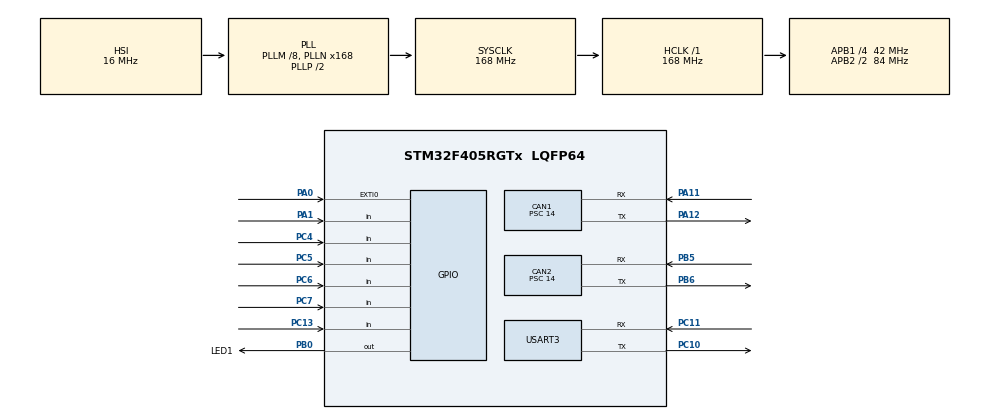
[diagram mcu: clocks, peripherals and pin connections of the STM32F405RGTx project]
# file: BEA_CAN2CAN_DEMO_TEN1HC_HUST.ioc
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CAN1.BS1=CAN_BS1_2TQ
CAN1.BS2=CAN_BS2_3TQ
CAN1.CalculateBaudRate=499999
CAN1.CalculateTimeBit=2000
CAN1.CalculateTimeQuantum=333.33333333333337
CAN1.Mode=CAN_MODE_LOOPBACK
CAN1.Prescaler=14
CAN1.SJW=CAN_SJW_2TQ
CAN2.BS1=CAN_BS1_2TQ
CAN2.BS2=CAN_BS2_3TQ
CAN2.CalculateBaudRate=499999
CAN2.CalculateTimeBit=2000
CAN2.CalculateTimeQuantum=333.33333333333337
CAN2.Prescaler=14
CAN2.SJW=CAN_SJW_2TQ
Mcu.Family=STM32F4
Mcu.Name=STM32F405RGTx
Mcu.Package=LQFP64
NVIC.CAN1_RX0_IRQn=true\:2\:0\:true\:false\:true\:true\:true\:true
NVIC.CAN2_RX0_IRQn=true\:2\:0\:true\:false\:true\:true\:true\:true
NVIC.EXTI0_IRQn=true\:1\:0\:true\:false\:true\:true\:true\:true
NVIC.PriorityGroup=NVIC_PRIORITYGROUP_4
NVIC.USART3_IRQn=true\:1\:0\:true\:false\:true\:true\:true\:true
PA0-WKUP.GPIO_ModeDefaultEXTI=GPIO_MODE_IT_FALLING
PA0-WKUP.GPIO_PuPd=GPIO_PULLUP
PA0-WKUP.Signal=GPXTI0
PA1.GPIO_PuPd=GPIO_PULLUP
PA1.Signal=GPIO_Input
PA11.Mode=CAN_Activate
PA11.Signal=CAN1_RX
PA12.Mode=CAN_Activate
PA12.Signal=CAN1_TX
PB0.GPIO_Label=LED1
PB0.Signal=GPIO_Output
PB5.Mode=CAN_Activate
PB5.Signal=CAN2_RX
PB6.Mode=CAN_Activate
PB6.Signal=CAN2_TX
PC10.Mode=Asynchronous
PC10.Signal=USART3_TX
PC11.Mode=Asynchronous
PC11.Signal=USART3_RX
PC13-ANTI_TAMP.GPIO_PuPd=GPIO_PULLUP
PC13-ANTI_TAMP.Signal=GPIO_Input
PC4.GPIO_PuPd=GPIO_PULLUP
PC4.Signal=GPIO_Input
PC5.GPIO_PuPd=GPIO_PULLUP
PC5.Signal=GPIO_Input
PC6.GPIO_PuPd=GPIO_PULLUP
PC6.Signal=GPIO_Input
PC7.GPIO_PuPd=GPIO_PULLUP
PC7.Signal=GPIO_Input
PH0-OSC_IN.Mode=HSE-External-Oscillator
PH0-OSC_IN.Signal=RCC_OSC_IN
PH1-OSC_OUT.Mode=HSE-External-Oscillator
PH1-OSC_OUT.Signal=RCC_OSC_OUT
ProjectManager.HeapSize=0x200
ProjectManager.StackSize=0x400
ProjectManager.TargetToolchain=STM32CubeIDE
RCC.48MHZClocksFreq_Value=84000000
RCC.AHBFreq_Value=168000000
RCC.APB1CLKDivider=RCC_HCLK_DIV4
RCC.APB1Freq_Value=42000000
RCC.APB1TimFreq_Value=84000000
RCC.APB2CLKDivider=RCC_HCLK_DIV2
RCC.APB2Freq_Value=84000000
RCC.APB2TimFreq_Value=168000000
RCC.CortexFreq_Value=168000000
RCC.HCLKFreq_Value=168000000
RCC.HSE_VALUE=8000000
RCC.HSI_VALUE=16000000
RCC.LSE_VALUE=32768
RCC.PLLM=8
RCC.PLLN=168
RCC.SYSCLKFreq_VALUE=168000000
RCC.SYSCLKSource=RCC_SYSCLKSOURCE_PLLCLK
RCC.VCOOutputFreq_Value=336000000
USART3.VirtualMode=VM_ASYNC
board=custom

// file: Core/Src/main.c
/* USER CODE BEGIN Header */
/**
  ******************************************************************************
  * @file           : main.c
  * @brief          : Main program body
  ******************************************************************************
  * @attention
  *
  * Copyright (c) 2023 STMicroelectronics.
  * All rights reserved.
  *
  * This software is licensed under terms that can be found in the LICENSE file
  * in the root directory of this software component.
  * If no LICENSE file comes with this software, it is provided AS-IS.
  *
  ******************************************************************************
  */
/* USER CODE END Header */
#include "main.h"

CAN_HandleTypeDef hcan1;
CAN_HandleTypeDef hcan2;

UART_HandleTypeDef huart3;

/* USER CODE BEGIN PV */
uint8_t uart3_receive;

CAN_HandleTypeDef hcan1;
CAN_HandleTypeDef hcan2;
CAN_TxHeaderTypeDef CAN1_TxHeader;
CAN_RxHeaderTypeDef CAN1_RxHeader;
CAN_TxHeaderTypeDef CAN2_TxHeader;
CAN_RxHeaderTypeDef CAN2_RxHeader;
uint32_t CAN1_TxMailbox;
uint32_t CAN2_TxMailbox;

uint16_t NumBytesReq = 0;
uint8_t  REQ_BUFFER  [4096];
uint8_t  REQ_1BYTE_DATA;

uint8_t CAN1_DATA_TX[8] = {0x01,0x02,0x03,0x04,0x05,0x06,0x07,0x08};
uint8_t CAN1_DATA_RX[8] = {0x00,0x00,0x00,0x00,0x00,0x00,0x00,0x00};
uint8_t CAN2_DATA_TX[8] = {0x08,0x07,0x06,0x05,0x04,0x03,0x02,0x01};
uint8_t CAN2_DATA_RX[8] = {0x00,0x00,0x00,0x00,0x00,0x00,0x00,0x00};

uint16_t Num_Consecutive_Tester;
uint8_t  Flg_Consecutive = 0;

unsigned int TimeStamp;
// maximum characters send out via UART is 30
/* USER CODE END PV */

void SystemClock_Config(void);
static void MX_GPIO_Init(void);
static void MX_CAN1_Init(void);
static void MX_CAN2_Init(void);
static void MX_USART3_UART_Init(void);
/* USER CODE BEGIN PFP */
void MX_CAN1_Setup();
void MX_CAN2_Setup();
void USART3_SendString(uint8_t *ch);
void PrintCANLog(uint16_t CANID, uint8_t * CAN_Frame);
void SID_22_Practice();
void SID_2E_Practice();
void SID_27_Practice();
void delay(uint16_t delay);
void CAN1_Transmit();
void CAN1_Receive();
void CAN2_Transmit();
void CAN2_Receive();
/* USER CODE END PFP */

int main(void)
{

  /* MCU Configuration--------------------------------------------------------*/

  /* Reset of all peripherals, Initializes the Flash interface and the Systick. */
  HAL_Init();

  /* Configure the system clock */
  SystemClock_Config();

  /* Initialize all configured peripherals */
  MX_GPIO_Init();
  MX_CAN1_Init();
  MX_CAN2_Init();
  MX_USART3_UART_Init();
  /* USER CODE BEGIN 2 */
  MX_CAN1_Setup();
  MX_CAN2_Setup();
//  __HAL_UART_ENABLE_IT(&huart3, UART_IT_RXNE);
  HAL_CAN_Start(&hcan1);
  HAL_CAN_Start(&hcan1);
  /* USER CODE END 2 */

  /* Infinite loop */
  /* USER CODE BEGIN WHILE */
  // Example Function to print can message via uart
  while (1)
  {
    /* USER CODE END WHILE */

    /* USER CODE BEGIN 3 */
		CAN1_Transmit();
	//	CAN1_Receive();
	//	CAN2_Transmit();
		CAN2_Receive();
		if(CAN2_DATA_RX[7] == 0x08){
			HAL_GPIO_TogglePin(LED1_GPIO_Port, LED1_Pin);
		}

//    if(!BtnU) /*IG OFF->ON stimulation*/
//    {
//      delay(20);
//      USART3_SendString((uint8_t *)"IG OFF ");
//      while(!BtnU);
//      MX_CAN1_Setup();
//      MX_CAN2_Setup();
//      USART3_SendString((uint8_t *)"-> IG ON \n");
//      delay(20);
//    }
	HAL_Delay(1000);
  }

  memset(&REQ_BUFFER,0x00,4096);
  NumBytesReq = 0;

  /* USER CODE END 3 */
}

void SystemClock_Config(void)
{
  RCC_OscInitTypeDef RCC_OscInitStruct = {0};
  RCC_ClkInitTypeDef RCC_ClkInitStruct = {0};

  /** Configure the main internal regulator output voltage
  */
  __HAL_RCC_PWR_CLK_ENABLE();
  __HAL_PWR_VOLTAGESCALING_CONFIG(PWR_REGULATOR_VOLTAGE_SCALE1);

  /** Initializes the RCC Oscillators according to the specified parameters
  * in the RCC_OscInitTypeDef structure.
  */
  RCC_OscInitStruct.OscillatorType = RCC_OSCILLATORTYPE_HSI;
  RCC_OscInitStruct.HSIState = RCC_HSI_ON;
  RCC_OscInitStruct.HSICalibrationValue = RCC_HSICALIBRATION_DEFAULT;
  RCC_OscInitStruct.PLL.PLLState = RCC_PLL_ON;
  RCC_OscInitStruct.PLL.PLLSource = RCC_PLLSOURCE_HSI;
  RCC_OscInitStruct.PLL.PLLM = 8;
  RCC_OscInitStruct.PLL.PLLN = 168;
  RCC_OscInitStruct.PLL.PLLP = RCC_PLLP_DIV2;
  RCC_OscInitStruct.PLL.PLLQ = 4;
  if (HAL_RCC_OscConfig(&RCC_OscInitStruct) != HAL_OK)
  {
    Error_Handler();
  }

  /** Initializes the CPU, AHB and APB buses clocks
  */
  RCC_ClkInitStruct.ClockType = RCC_CLOCKTYPE_HCLK|RCC_CLOCKTYPE_SYSCLK
                              |RCC_CLOCKTYPE_PCLK1|RCC_CLOCKTYPE_PCLK2;
  RCC_ClkInitStruct.SYSCLKSource = RCC_SYSCLKSOURCE_PLLCLK;
  RCC_ClkInitStruct.AHBCLKDivider = RCC_SYSCLK_DIV1;
  RCC_ClkInitStruct.APB1CLKDivider = RCC_HCLK_DIV4;
  RCC_ClkInitStruct.APB2CLKDivider = RCC_HCLK_DIV2;

  if (HAL_RCC_ClockConfig(&RCC_ClkInitStruct, FLASH_LATENCY_5) != HAL_OK)
  {
    Error_Handler();
  }
}

static void MX_CAN1_Init(void)
{

  hcan1.Instance = CAN1;
  hcan1.Init.Prescaler = 14;
  hcan1.Init.Mode = CAN_MODE_LOOPBACK;
  hcan1.Init.SyncJumpWidth = CAN_SJW_2TQ;
  hcan1.Init.TimeSeg1 = CAN_BS1_2TQ;
  hcan1.Init.TimeSeg2 = CAN_BS2_3TQ;
  hcan1.Init.TimeTriggeredMode = DISABLE;
  hcan1.Init.AutoBusOff = DISABLE;
  hcan1.Init.AutoWakeUp = DISABLE;
  hcan1.Init.AutoRetransmission = DISABLE;
  hcan1.Init.ReceiveFifoLocked = DISABLE;
  hcan1.Init.TransmitFifoPriority = DISABLE;
  if (HAL_CAN_Init(&hcan1) != HAL_OK)
  {
    Error_Handler();
  }

}

static void MX_CAN2_Init(void)
{

  hcan2.Instance = CAN2;
  hcan2.Init.Prescaler = 14;
  hcan2.Init.Mode = CAN_MODE_NORMAL;
  hcan2.Init.SyncJumpWidth = CAN_SJW_2TQ;
  hcan2.Init.TimeSeg1 = CAN_BS1_2TQ;
  hcan2.Init.TimeSeg2 = CAN_BS2_3TQ;
  hcan2.Init.TimeTriggeredMode = DISABLE;
  hcan2.Init.AutoBusOff = DISABLE;
  hcan2.Init.AutoWakeUp = DISABLE;
  hcan2.Init.AutoRetransmission = DISABLE;
  hcan2.Init.ReceiveFifoLocked = DISABLE;
  hcan2.Init.TransmitFifoPriority = DISABLE;
  if (HAL_CAN_Init(&hcan2) != HAL_OK)
  {
    Error_Handler();
  }

}

static void MX_USART3_UART_Init(void)
{

  huart3.Instance = USART3;
  huart3.Init.BaudRate = 115200;
  huart3.Init.WordLength = UART_WORDLENGTH_8B;
  huart3.Init.StopBits = UART_STOPBITS_1;
  huart3.Init.Parity = UART_PARITY_NONE;
  huart3.Init.Mode = UART_MODE_TX_RX;
  huart3.Init.HwFlowCtl = UART_HWCONTROL_NONE;
  huart3.Init.OverSampling = UART_OVERSAMPLING_16;
  if (HAL_UART_Init(&huart3) != HAL_OK)
  {
    Error_Handler();
  }

}

static void MX_GPIO_Init(void)
{
  GPIO_InitTypeDef GPIO_InitStruct = {0};

  /* GPIO Ports Clock Enable */
  __HAL_RCC_GPIOC_CLK_ENABLE();
  __HAL_RCC_GPIOH_CLK_ENABLE();
  __HAL_RCC_GPIOA_CLK_ENABLE();
  __HAL_RCC_GPIOB_CLK_ENABLE();

  /*Configure GPIO pin Output Level */
  HAL_GPIO_WritePin(LED1_GPIO_Port, LED1_Pin, GPIO_PIN_RESET);

  /*Configure GPIO pins : PC13 PC4 PC5 PC6
                           PC7 */
  GPIO_InitStruct.Pin = GPIO_PIN_13|GPIO_PIN_4|GPIO_PIN_5|GPIO_PIN_6
                          |GPIO_PIN_7;
  GPIO_InitStruct.Mode = GPIO_MODE_INPUT;
  GPIO_InitStruct.Pull = GPIO_PULLUP;
  HAL_GPIO_Init(GPIOC, &GPIO_InitStruct);

  /*Configure GPIO pin : PA0 */
  GPIO_InitStruct.Pin = GPIO_PIN_0;
  GPIO_InitStruct.Mode = GPIO_MODE_IT_FALLING;
  GPIO_InitStruct.Pull = GPIO_PULLUP;
  HAL_GPIO_Init(GPIOA, &GPIO_InitStruct);

  /*Configure GPIO pin : PA1 */
  GPIO_InitStruct.Pin = GPIO_PIN_1;
  GPIO_InitStruct.Mode = GPIO_MODE_INPUT;
  GPIO_InitStruct.Pull = GPIO_PULLUP;
  HAL_GPIO_Init(GPIOA, &GPIO_InitStruct);

  /*Configure GPIO pin : LED1_Pin */
  GPIO_InitStruct.Pin = LED1_Pin;
  GPIO_InitStruct.Mode = GPIO_MODE_OUTPUT_PP;
  GPIO_InitStruct.Pull = GPIO_NOPULL;
  GPIO_InitStruct.Speed = GPIO_SPEED_FREQ_LOW;
  HAL_GPIO_Init(LED1_GPIO_Port, &GPIO_InitStruct);

  /* EXTI interrupt init*/
  HAL_NVIC_SetPriority(EXTI0_IRQn, 1, 0);
  HAL_NVIC_EnableIRQ(EXTI0_IRQn);

}

/* USER CODE BEGIN 4 */

void CAN1_Transmit() {
  CAN1_TxHeader.StdId = 0x103;
  CAN1_TxHeader.ExtId = 0x01;
  CAN1_TxHeader.RTR = CAN_RTR_DATA;
  CAN1_TxHeader.IDE = CAN_ID_STD;
  CAN1_TxHeader.DLC = 8;

  if (HAL_CAN_AddTxMessage(&hcan1, &CAN1_TxHeader,CAN1_DATA_TX, (uint32_t *)CAN1_TxMailbox) != HAL_OK)
  {
     Error_Handler ();
  }
}

void CAN1_Receive() {
  if (HAL_CAN_ActivateNotification(&hcan1, CAN_IT_RX_FIFO0_MSG_PENDING) != HAL_OK)
    {
  	  Error_Handler();
    }
  if (HAL_CAN_GetRxMessage(&hcan1, CAN_RX_FIFO0, &CAN1_RxHeader, CAN1_DATA_RX) != HAL_OK)
  {
	  Error_Handler();
  }
}

void CAN2_Transmit() {
  CAN2_TxHeader.StdId = 0x103;
  CAN2_TxHeader.ExtId = 0x01;
  CAN2_TxHeader.RTR = CAN_RTR_DATA;
  CAN2_TxHeader.IDE = CAN_ID_STD;
  CAN2_TxHeader.DLC = 8;

  if (HAL_CAN_AddTxMessage(&hcan2, &CAN2_TxHeader,CAN2_DATA_TX, (uint32_t *)CAN2_TxMailbox) != HAL_OK)
  {
     Error_Handler ();
  }
}

void CAN2_Receive() {
  if (HAL_CAN_ActivateNotification(&hcan2, CAN_IT_RX_FIFO0_MSG_PENDING) != HAL_OK)
    {
  	  Error_Handler();
    }
  if (HAL_CAN_GetRxMessage(&hcan2, CAN_RX_FIFO0, &CAN2_RxHeader, CAN2_DATA_RX) != HAL_OK)
  {
	  Error_Handler();
  }
}

void MX_CAN1_Setup()
{
	CAN_FilterTypeDef sFilterConfig = {0};
	  /* USER CODE BEGIN CAN2_Init 0 */
	  sFilterConfig.FilterBank = 0;
	  sFilterConfig.FilterMode = CAN_FILTERMODE_IDMASK;
	  sFilterConfig.FilterScale = CAN_FILTERSCALE_32BIT;
	  sFilterConfig.FilterIdHigh = 0x0000;
	  sFilterConfig.FilterIdLow = 0x0000;
	  sFilterConfig.FilterMaskIdHigh = 0x0000;
	  sFilterConfig.FilterMaskIdLow = 0x0000;
	  sFilterConfig.FilterFIFOAssignment = CAN_RX_FIFO0;
	  sFilterConfig.FilterActivation = ENABLE;
	  sFilterConfig.SlaveStartFilterBank = 14;
	HAL_CAN_ConfigFilter(&hcan1, &sFilterConfig);
	if (HAL_CAN_ConfigFilter(&hcan1, &sFilterConfig) != HAL_OK)
	    {
	      Error_Handler();
	    }
	HAL_CAN_Start(&hcan1);
	HAL_CAN_ActivateNotification(&hcan1, CAN_IT_RX_FIFO0_MSG_PENDING);
}
void MX_CAN2_Setup()
{
	CAN_FilterTypeDef sFilterConfig = {0};
	  /* USER CODE BEGIN CAN1_Init 0 */
	  sFilterConfig.FilterBank = 14;
	  sFilterConfig.FilterMode = CAN_FILTERMODE_IDMASK;
	  sFilterConfig.FilterScale = CAN_FILTERSCALE_32BIT;
	  sFilterConfig.FilterIdHigh = 0x0000;
	  sFilterConfig.FilterIdLow = 0x0000;
	  sFilterConfig.FilterMaskIdHigh = 0x0000;
	  sFilterConfig.FilterMaskIdLow = 0x0000;
	  sFilterConfig.FilterFIFOAssignment = CAN_RX_FIFO0;
	  sFilterConfig.FilterActivation = ENABLE;
	  sFilterConfig.SlaveStartFilterBank = 14;
	HAL_CAN_ConfigFilter(&hcan2, &sFilterConfig);
	if (HAL_CAN_ConfigFilter(&hcan2, &sFilterConfig) != HAL_OK)
	      {
	        Error_Handler();
	      }
	HAL_CAN_Start(&hcan2);
	HAL_CAN_ActivateNotification(&hcan2, CAN_IT_RX_FIFO0_MSG_PENDING);
}

void USART3_SendString(uint8_t *ch)
{
   while(*ch!=0)
   {
      HAL_UART_Transmit(&huart3, ch, 1,HAL_MAX_DELAY);
      ch++;
   }
}
//void PrintCANLog(uint16_t CANID, uint8_t * CAN_Frame)
//{
//	uint16_t loopIndx = 0;
//	char bufID[3] = "   ";
//	char bufDat[2] = "  ";
//	char bufTime [8]="        ";
//
//	USART3_SendString((uint8_t*)bufTime);
//	USART3_SendString((uint8_t*)" ");
//
//	sprintf(bufID,"%X",CANID);
//	for(loopIndx = 0; loopIndx < 3; loopIndx ++)
//	{
//		bufsend[loopIndx]  = bufID[loopIndx];
//	}
//	bufsend[3] = ':';
//	bufsend[4] = ' ';
//
//
//	for(loopIndx = 0; loopIndx < 8; loopIndx ++ )
//	{
//		sprintf(bufDat,"%02X",CAN_Frame[loopIndx]);
//		bufsend[loopIndx*3 + 5] = bufDat[0];
//		bufsend[loopIndx*3 + 6] = bufDat[1];
//		bufsend[loopIndx*3 + 7] = ' ';
//	}
//	bufsend[29] = '\n';
//	USART3_SendString((unsigned char*)bufsend);
//}
void HAL_UART_RxCpltCallback(UART_HandleTypeDef *huart)
{
	REQ_BUFFER[NumBytesReq] = REQ_1BYTE_DATA;
	NumBytesReq++;
	//REQ_BUFFER[7] = NumBytesReq;
}
void delay(uint16_t delay)
{
	HAL_Delay(delay);
}
/* USER CODE END 4 */

void Error_Handler(void)
{
  __disable_irq();
  while (1)
  {
  }
}
